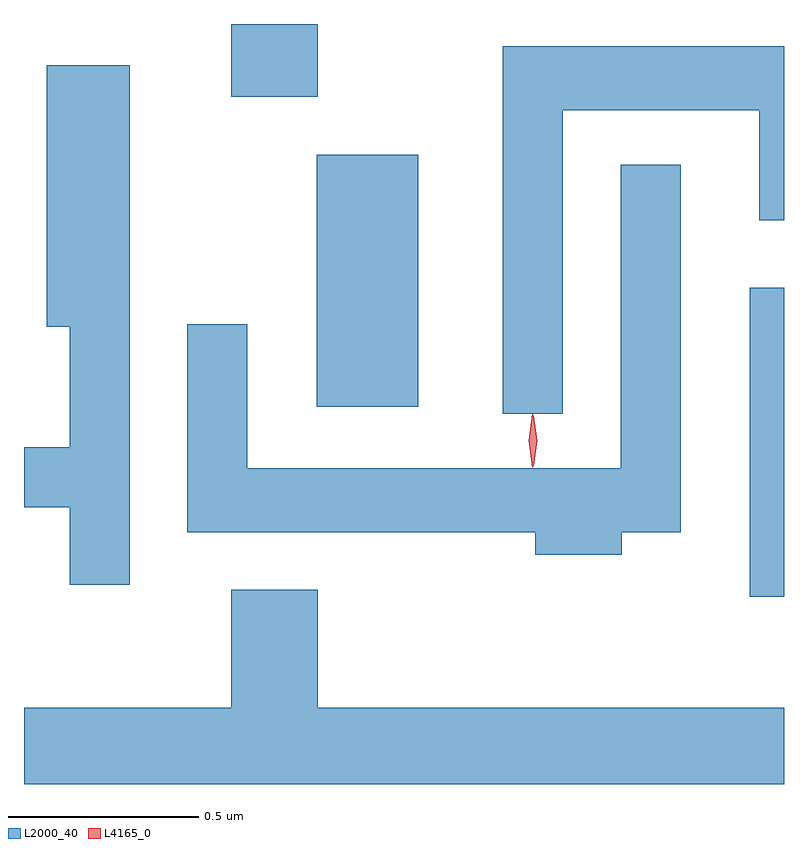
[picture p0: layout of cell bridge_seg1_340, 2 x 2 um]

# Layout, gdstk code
import gdstk
lib = gdstk.Library(unit=1e-6, precision=1e-09)
def R(c, l, rs):  # rectangles x0, y0, x1, y1
    for r in rs: c.add(gdstk.rectangle(r[:2], r[2:], *l))
def P(c, l, *ps):  # polygons
    for p in ps: c.add(gdstk.Polygon(p, *l))
L2000_40 = (2000, 40)
L4165_0 = (4165, 0)

bridge_seg1_340 = lib.new_cell('bridge_seg1_340')
R(bridge_seg1_340, L2000_40, [(930.876,877.936,930.966,878.749), (929.736,878.436,930.004,879.099), (929.511,879.251,929.739,879.443)])
P(bridge_seg1_340, L2000_40, [(930.384,879.216),(930.901,879.216),(930.901,878.926),(930.966,878.926),(930.966,879.384),(930.226,879.384),(930.226,878.418),(930.384,878.418)],
  [(929.244,879.334),(929.026,879.334),(929.026,878.646),(929.086,878.646),(929.086,878.329),(928.966,878.329),(928.966,878.171),(929.086,878.171),(929.086,877.968),(929.244,877.968)],
  [(930.539,878.106),(930.694,878.106),(930.694,879.073),(930.536,879.073),(930.536,878.274),(929.554,878.274),(929.554,878.653),(929.396,878.653),(929.396,878.106),(930.311,878.106),(930.311,878.046),(930.539,878.046)],
  [(930.966,877.644),(929.739,877.644),(929.739,877.954),(929.511,877.954),(929.511,877.644),(928.966,877.644),(928.966,877.443),(930.966,877.443)])
P(bridge_seg1_340, L4165_0, [(930.307,878.279),(930.306,878.28),(930.297,878.346),(930.306,878.412),(930.306,878.413),(930.307,878.412),(930.317,878.346),(930.307,878.28)],
  [(930.304,878.277),(930.304,878.277),(930.294,878.346),(930.304,878.416),(930.304,878.416),(930.305,878.416),(930.314,878.346),(930.305,878.277)])

lib.write_gds('bridge_seg1_340.gds')
